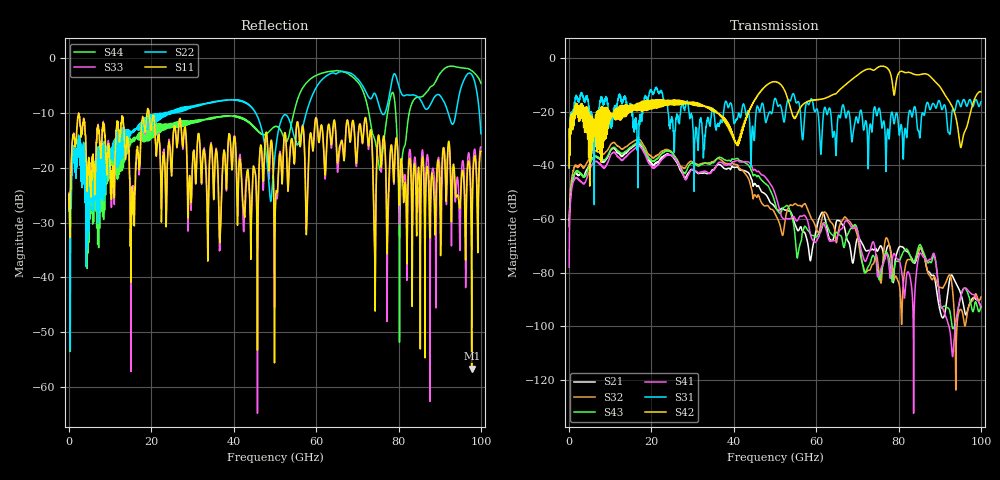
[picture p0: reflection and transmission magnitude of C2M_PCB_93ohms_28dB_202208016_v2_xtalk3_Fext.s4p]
! Info: Touchstone file created by Circ.  Input file=Intel_C2M_200G_12p0in_202208016_staggered.circ
# Hz S RI R 50
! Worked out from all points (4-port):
!   10000 points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, 10 MHz to 100 GHz, reference 50 ohm
!   strongest paths, dB at 10 MHz, 25.01 GHz, 50.01 GHz, 75.01 GHz, 100 GHz:
!     S42: -40.8, -16.8, -8.7, -3.4, -12.5
!     S31: -41.1, -23.4, -15.0, -19.7, -16.2
!     S41: -78.0, -36.4, -50.5, -81.6, -92.6
!     S43: -62.2, -35.3, -54.0, -80.2, -92.6
!     S32: -62.8, -35.0, -58.0, -76.6, -89.1
!     S21: -60.2, -36.5, -55.6, -71.6, -92.8
!   lowest |S11| = -56.6 dB at 97.76 GHz (marker M1), VSWR 1.00, Z = 50.1 - j0.0533 ohm
!   |S11| at or under -10 dB: start of sweep to 18.95 GHz; 19.39 GHz to end of sweep
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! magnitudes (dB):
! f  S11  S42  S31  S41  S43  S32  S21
! 10 MHz  -27.5  -40.8  -41.1  -78.0  -62.2  -62.8  -60.2
! 1.41 GHz  -15.4  -20.8  -16.2  -44.8  -42.9  -40.1  -42.9
! 16.92 GHz  -19.0  -16.8  -30.3  -32.7  -31.3  -30.1  -31.7
! 66.36 GHz  -15.5  -10.9  -17.7  -63.4  -67.9  -60.5  -62.1
! 80.35 GHz  -22.0  -5.0  -27.0  -76.2  -75.2  -86.4  -70.2
! 97.76 GHz  -56.6  -18.5  -17.0  -87.9  -93.1  -90.7  -89.9
! 100 GHz  -16.9  -12.5  -16.2  -92.6  -92.6  -89.1  -92.8
